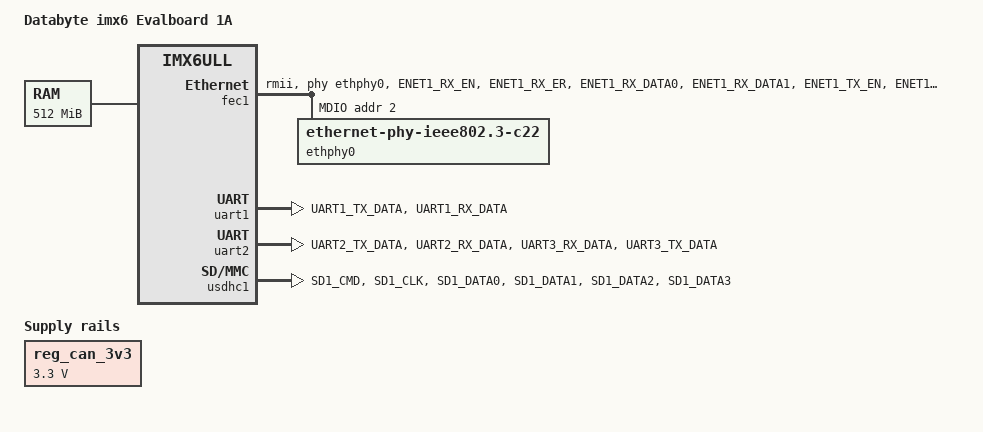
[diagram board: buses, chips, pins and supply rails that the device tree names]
/*
 * Copyright (C) 2019 C. Hediger, databyte.ch
 *
 * This program is free software; you can redistribute it and/or modify
 * it under the terms of the GNU General Public License version 2 as
 * published by the Free Software Foundation.
 */

/dts-v1/;

#include "imx6ull.dtsi"

/ {
	model = "Databyte imx6 Evalboard 1A";
	compatible = "databyte,eval1a", "fsl,imx6ull";

	chosen {
		stdout-path = &uart1;
	};

	memory {
		reg = <0x80000000 0x20000000>;
	};

	regulators {
		compatible = "simple-bus";
		#address-cells = <1>;
		#size-cells = <0>;

		reg_can_3v3: regulator@0 {
			compatible = "regulator-fixed";
			reg = <0>;
			regulator-name = "can-3v3";
			regulator-min-microvolt = <3300000>;
			regulator-max-microvolt = <3300000>;
		};


	};

};

&cpu0 {
	arm-supply = <&reg_arm>;
	soc-supply = <&reg_soc>;
	/*dc-supply = <&reg_gpio_dvfs>;*/
};

&clks {
	assigned-clocks = <&clks IMX6UL_CLK_PLL4_AUDIO_DIV>;
	assigned-clock-rates = <786432000>;
};

&fec1 {
	pinctrl-names = "default";
	pinctrl-0 = <&pinctrl_enet1>;
	phy-mode = "rmii";
	phy-handle = <&ethphy0>;
	status = "okay";

	mdio {
		#address-cells = <1>;
		#size-cells = <0>;

		ethphy0: ethernet-phy@2 {
			compatible = "ethernet-phy-ieee802.3-c22";
			reg = <2>;
		};
	};
};



&iomuxc {
	pinctrl-names = "default";
	//pinctrl-0 = <&pinctrl_hog_1>;
	eval1a {

		pinctrl_enet1: enet1grp {
			fsl,pins = <
				MX6UL_PAD_ENET1_RX_EN__ENET1_RX_EN	0x1b0b0
				MX6UL_PAD_ENET1_RX_ER__ENET1_RX_ER	0x1b0b0
				MX6UL_PAD_ENET1_RX_DATA0__ENET1_RDATA00	0x1b0b0
				MX6UL_PAD_ENET1_RX_DATA1__ENET1_RDATA01	0x1b0b0
				MX6UL_PAD_ENET1_TX_EN__ENET1_TX_EN	0x1b0b0
				MX6UL_PAD_ENET1_TX_DATA0__ENET1_TDATA00	0x1b0b0
				MX6UL_PAD_ENET1_TX_DATA1__ENET1_TDATA01	0x1b0b0
				MX6UL_PAD_ENET1_TX_CLK__ENET1_REF_CLK1	0x4001b031
				MX6UL_PAD_GPIO1_IO07__ENET1_MDC		0x1b0b0
				MX6UL_PAD_GPIO1_IO06__ENET1_MDIO 	0x1b0b0
			>;
		};
		
		pinctrl_uart1: uart1grp {
			fsl,pins = <
				MX6UL_PAD_UART1_TX_DATA__UART1_DCE_TX 0x1b0b1
				MX6UL_PAD_UART1_RX_DATA__UART1_DCE_RX 0x1b0b1
			>;
		};

		pinctrl_uart2: uart2grp {
			fsl,pins = <
				MX6UL_PAD_UART2_TX_DATA__UART2_DCE_TX	0x1b0b1
				MX6UL_PAD_UART2_RX_DATA__UART2_DCE_RX	0x1b0b1
				MX6UL_PAD_UART3_RX_DATA__UART2_DCE_RTS	0x1b0b1
				MX6UL_PAD_UART3_TX_DATA__UART2_DCE_CTS	0x1b0b1
			>;
		};

		pinctrl_uart2dte: uart2dtegrp {
			fsl,pins = <
				MX6UL_PAD_UART2_TX_DATA__UART2_DTE_RX	0x1b0b1
				MX6UL_PAD_UART2_RX_DATA__UART2_DTE_TX	0x1b0b1
				MX6UL_PAD_UART3_RX_DATA__UART2_DTE_CTS	0x1b0b1
				MX6UL_PAD_UART3_TX_DATA__UART2_DTE_RTS	0x1b0b1
			>;
		};

		pinctrl_usdhc1: usdhc1grp {
			fsl,pins = <
				MX6UL_PAD_SD1_CMD__USDHC1_CMD     0x17059
				MX6UL_PAD_SD1_CLK__USDHC1_CLK     0x10071
				MX6UL_PAD_SD1_DATA0__USDHC1_DATA0 0x17059
				MX6UL_PAD_SD1_DATA1__USDHC1_DATA1 0x17059
				MX6UL_PAD_SD1_DATA2__USDHC1_DATA2 0x17059
				MX6UL_PAD_SD1_DATA3__USDHC1_DATA3 0x17059
			>;
		};

		pinctrl_wdog: wdoggrp {
			fsl,pins = <
				MX6UL_PAD_LCD_RESET__WDOG1_WDOG_ANY    0x30b0
			>;
		};
	};
};


&uart1 {
	pinctrl-names = "default";
	pinctrl-0 = <&pinctrl_uart1>;
	status = "okay";
};

&uart2 {
	pinctrl-names = "default";
	pinctrl-0 = <&pinctrl_uart2>;
	fsl,uart-has-rtscts;
	/* for DTE mode, add below change */
	/* fsl,dte-mode; */
	/* pinctrl-0 = <&pinctrl_uart2dte>; */
	status = "okay";
};

&usdhc1 {
	pinctrl-names = "default";
	pinctrl-0 = <&pinctrl_usdhc1>;
	//cd-gpios = <&gpio1 19 GPIO_ACTIVE_LOW>;
	keep-power-in-suspend;
	enable-sdio-wakeup;
	status = "okay";
};

&wdog1 {
	pinctrl-names = "default";
	pinctrl-0 = <&pinctrl_wdog>;
	fsl,wdog_b;
};
